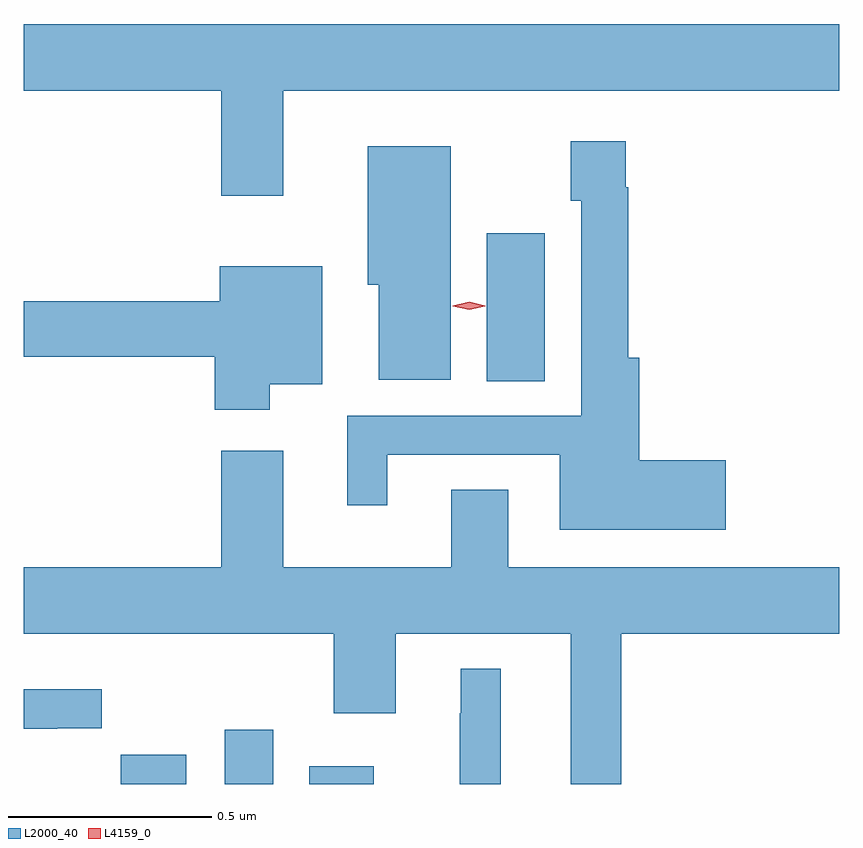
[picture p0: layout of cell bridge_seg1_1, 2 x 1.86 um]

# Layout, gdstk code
import gdstk
lib = gdstk.Library(unit=1e-6, precision=1e-09)
def R(c, l, rs):  # rectangles x0, y0, x1, y1
    for r in rs: c.add(gdstk.rectangle(r[:2], r[2:], *l))
def P(c, l, *ps):  # polygons
    for p in ps: c.add(gdstk.Polygon(p, *l))
L2000_40 = (2000, 40)
L4159_0 = (4159, 0)

bridge_seg1_1 = lib.new_cell('bridge_seg1_1')
R(bridge_seg1_1, L2000_40, [(750.311,535.38,750.472,535.452), (750.566,535.38,750.685,535.513), (750.773,535.38,750.931,535.423), (751.208,536.368,751.351,536.731)])
P(bridge_seg1_1, L2000_40, [(750.709,537.08),(752.073,537.08),(752.073,537.244),(750.073,537.244),(750.073,537.08),(750.557,537.08),(750.557,536.823),(750.709,536.823)],
  [(751.795,536.174),(751.583,536.174),(751.583,536.425),(751.556,536.425),(751.556,536.843),(751.549,536.843),(751.549,536.956),(751.414,536.956),(751.414,536.811),(751.44,536.811),(751.44,536.283),(750.866,536.283),(750.866,536.064),(750.964,536.064),(750.964,536.187),(751.388,536.187),(751.388,536.003),(751.795,536.003)],
  [(751.12,536.944),(750.917,536.944),(750.917,536.604),(750.944,536.604),(750.944,536.372),(751.12,536.372)],
  [(750.676,536.36),(750.805,536.36),(750.805,536.65),(750.554,536.65),(750.554,536.564),(750.073,536.564),(750.073,536.428),(750.542,536.428),(750.542,536.298),(750.676,536.298)],
  [(751.538,535.748),(752.073,535.748),(752.073,535.912),(751.261,535.912),(751.261,536.102),(751.121,536.102),(751.121,535.912),(750.709,535.912),(750.709,536.197),(750.557,536.197),(750.557,535.912),(750.073,535.912),(750.073,535.748),(750.833,535.748),(750.833,535.554),(750.985,535.554),(750.985,535.748),(751.415,535.748),(751.415,535.38),(751.538,535.38)],
  [(751.243,535.663),(751.145,535.663),(751.145,535.553),(751.142,535.553),(751.142,535.38),(751.243,535.38)],
  [(750.155,535.517),(750.264,535.517),(750.264,535.612),(750.073,535.612),(750.073,535.515),(750.155,535.515)])
P(bridge_seg1_1, L4159_0, [(751.165,536.543),(751.125,536.552),(751.125,536.553),(751.125,536.553),(751.165,536.563),(751.205,536.553),(751.205,536.553),(751.205,536.552)])

lib.write_gds('bridge_seg1_1.gds')
